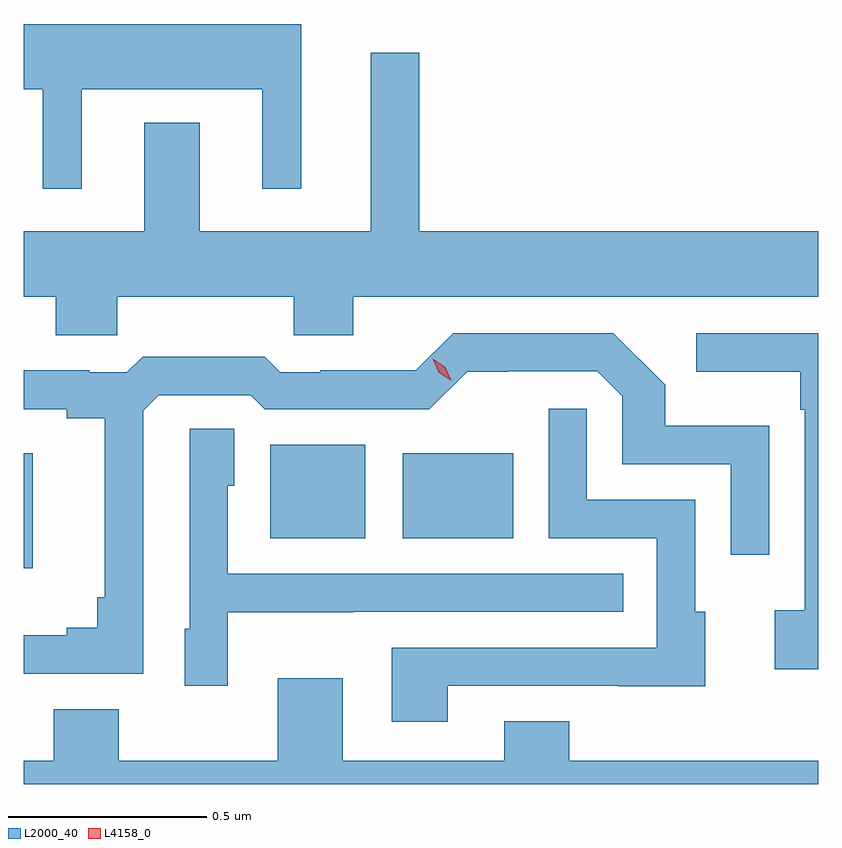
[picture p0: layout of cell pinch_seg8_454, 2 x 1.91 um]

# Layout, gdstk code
import gdstk
lib = gdstk.Library(unit=1e-6, precision=1e-09)
def R(c, l, rs):  # rectangles x0, y0, x1, y1
    for r in rs: c.add(gdstk.rectangle(r[:2], r[2:], *l))
def P(c, l, *ps):  # polygons
    for p in ps: c.add(gdstk.Polygon(p, *l))
L2000_40 = (2000, 40)
L4158_0 = (4158, 0)

pinch_seg8_454 = lib.new_cell('pinch_seg8_454')
R(pinch_seg8_454, L2000_40, [(321.428,1139.792,321.451,1140.082), (322.049,1139.867,322.288,1140.103), (322.382,1139.867,322.66,1140.082)])
P(pinch_seg8_454, L2000_40, [(321.574,1140.998),(322.028,1140.998),(322.028,1140.747),(322.126,1140.747),(322.126,1141.162),(321.428,1141.162),(321.428,1140.998),(321.476,1140.998),(321.476,1140.747),(321.574,1140.747)],
  [(321.663,1140.476),(322.108,1140.476),(322.108,1140.378),(322.258,1140.378),(322.258,1140.476),(323.428,1140.476),(323.428,1140.64),(322.423,1140.64),(322.423,1141.09),(322.301,1141.09),(322.301,1140.64),(321.871,1140.64),(321.871,1140.913),(321.731,1140.913),(321.731,1140.64),(321.428,1140.64),(321.428,1140.476),(321.508,1140.476),(321.508,1140.378),(321.663,1140.378)],
  [(321.729,1140.189),(321.768,1140.228),(321.999,1140.228),(322.035,1140.192),(322.449,1140.192),(322.544,1140.287),(322.648,1140.287),(322.648,1140.288),(322.872,1140.288),(322.935,1140.225),(322.935,1140.054),(323.208,1140.054),(323.208,1139.826),(323.304,1139.826),(323.304,1140.151),(323.043,1140.151),(323.043,1140.254),(322.912,1140.384),(322.509,1140.384),(322.415,1140.29),(322.174,1140.29),(322.174,1140.285),(322.074,1140.285),(322.035,1140.325),(321.727,1140.325),(321.687,1140.285),(321.593,1140.285),(321.593,1140.29),(321.428,1140.29),(321.428,1140.192),(321.536,1140.192),(321.536,1140.17),(321.632,1140.17),(321.632,1139.719),(321.613,1139.719),(321.613,1139.642),(321.536,1139.642),(321.536,1139.623),(321.428,1139.623),(321.428,1139.526),(321.729,1139.526)],
  [(323.428,1140.384),(323.121,1140.384),(323.121,1140.287),(323.382,1140.287),(323.382,1140.191),(323.394,1140.191),(323.394,1139.686),(323.319,1139.686),(323.319,1139.538),(323.428,1139.538)],
  [(322.495,1139.496),(322.925,1139.496),(322.925,1139.495),(323.143,1139.495),(323.143,1139.682),(323.118,1139.682),(323.118,1139.964),(322.845,1139.964),(322.845,1140.193),(322.749,1140.193),(322.749,1139.868),(323.022,1139.868),(323.022,1139.592),(322.355,1139.592),(322.355,1139.406),(322.495,1139.406)],
  [(321.942,1139.681),(322.259,1139.681),(322.259,1139.682),(322.937,1139.682),(322.937,1139.778),(321.942,1139.778),(321.942,1140),(321.958,1140),(321.958,1140.143),(321.846,1140.143),(321.846,1139.64),(321.833,1139.64),(321.833,1139.496),(321.942,1139.496)],
  [(323.428,1139.308),(322.801,1139.308),(322.801,1139.407),(322.637,1139.407),(322.637,1139.308),(322.231,1139.308),(322.231,1139.515),(322.067,1139.515),(322.067,1139.308),(321.667,1139.308),(321.667,1139.437),(321.503,1139.437),(321.503,1139.308),(321.428,1139.308),(321.428,1139.249),(323.428,1139.249)])
P(pinch_seg8_454, L4158_0, [(322.504,1140.264),(322.473,1140.285),(322.458,1140.319),(322.458,1140.319),(322.458,1140.319),(322.489,1140.298),(322.504,1140.264),(322.504,1140.264)])

lib.write_gds('pinch_seg8_454.gds')
